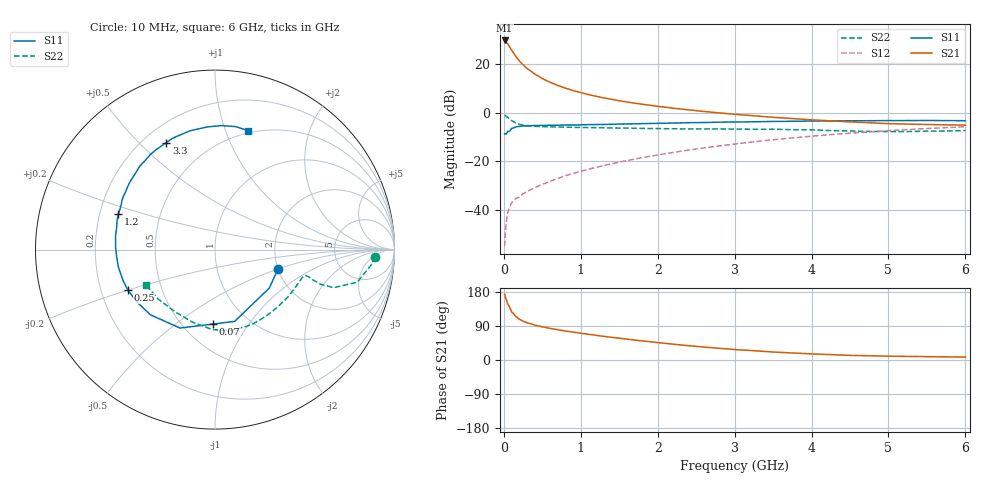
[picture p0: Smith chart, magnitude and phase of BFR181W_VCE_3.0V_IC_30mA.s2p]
! Infineon Technologies  Discrete & RF Semiconductors
! BFR181W
! VCE =  3.0 V,  IC =  30 mA
! Common Emitter S-Parameters:  Jan 2017
# GHz  S  MA  R  50
!  f  S11  S21  S12  S22
! GHz  MAG  ANG  MAG  ANG  MAG  ANG  MAG  ANG
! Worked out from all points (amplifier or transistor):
!   77 points, 10 MHz to 6 GHz, reference 50 ohm
!   highest |S21| = 29.8 dB at 10 MHz (marker M1)
!   |S21| within 3 dB of that: start of sweep to 81.19 MHz
!   unconditionally stable (mu >= 1): start of sweep to 18.19 MHz; 242.7 MHz to 2.859 GHz; 4.974 GHz to end of sweep
!   at 130 MHz: K = 0.71, MSG = 30.2 dB, |S12| = -36.0 dB
!   at 2.2 GHz: K = 1.13, MAG = 6.9 dB, |S12| = -16.3 dB
!   at 6 GHz: K = 1.05, MAG = -1.0 dB, |S12| = -5.8 dB
!   S11 on the Smith chart (normalised r, x): 10 MHz: 2.00, -0.49; 70 MHz: 0.69, -0.69; 250 MHz: 0.32, -0.20; 1.2 GHz: 0.28, +0.17; 3.3 GHz: 0.29, +0.60; 6 GHz: 0.48, +1.20
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0.01  0.367 -16.8  30.8 173.7  0.0018 71.1  0.8916 -2.6
0.02  0.3707 -35.3  30.03 166.2  0.0034 84.3  0.8756 -5.5
0.05  0.4148 -74.7  26.39 148.2  0.0087 65.3  0.8122 -13.0
0.07  0.415 -91.7  23.34 141.4  0.0108 62.1  0.7643 -14.7
0.1  0.4787 -114.1  19.6 127.6  0.0139 59.0  0.6939 -17.8
0.15  0.5116 -134.8  14.88 115.9  0.017 56.7  0.6206 -18.2
0.2  0.5246 -146.7  11.77 107.9  0.0183 55.9  0.5806 -17.4
0.25  0.5355 -155.3  9.692 102.5  0.0217 58.2  0.5585 -16.8
0.3  0.5403 -161.3  8.207 98.3  0.0239 59.5  0.5433 -16.2
0.4  0.5472 -169.8  6.285 92.1  0.0287 65.7  0.5271 -15.9
0.5  0.5494 -176.0  5.066 87.5  0.0335 68.1  0.5185 -16.4
0.7  0.5555 175.5  3.66 79.9  0.0443 73.0  0.5086 -18.2
0.9  0.5605 168.4  2.871 73.5  0.0563 75.7  0.5024 -21.0
1.1  0.5709 162.4  2.375 67.9  0.069 78.6  0.4969 -24.2
1.2  0.5734 159.7  2.186 65.1  0.0752 78.5  0.4939 -25.8
1.6  0.5906 149.7  1.669 55.0  0.1041 79.8  0.4839 -33.6
2.1  0.6103 138.3  1.301 43.9  0.144 78.7  0.4709 -44.9
3.1  0.6484 118.4  0.906 26.4  0.2373 71.7  0.4604 -69.7
3.3  0.6548 114.5  0.856 23.9  0.2577 69.8  0.4585 -74.4
4.1  0.6771 100.1  0.702 15.3  0.3399 60.9  0.4392 -94.7
5.1  0.6918 85.6  0.593 9.8  0.4377 48.2  0.4105 -126.3
6  0.6878 74.3  0.557 7.7  0.5156 36.6  0.431 -152.5
